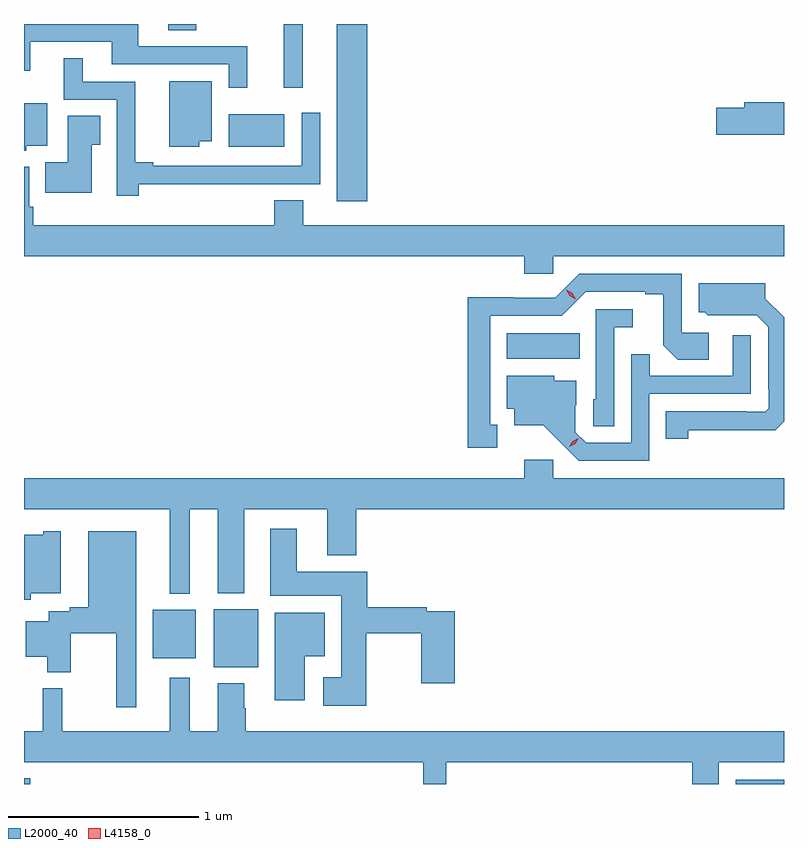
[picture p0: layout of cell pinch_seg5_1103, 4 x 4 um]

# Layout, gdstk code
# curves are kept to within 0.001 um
import gdstk
lib = gdstk.Library(unit=1e-6, precision=1e-09)
def R(c, l, rs):  # rectangles x0, y0, x1, y1
    for r in rs: c.add(gdstk.rectangle(r[:2], r[2:], *l))
def P(c, l, *ps):  # polygons
    for p in ps: c.add(gdstk.Polygon(p, *l))
L2000_40 = (2000, 40)
L4158_0 = (4158, 0)

pinch_seg5_1103 = lib.new_cell('pinch_seg5_1103')
R(pinch_seg5_1103, L2000_40, [(754.211,840.662,754.244,840.691), (757.956,840.662,758.211,840.684), (755.21,841.277,755.443,841.582), (754.889,841.325,755.116,841.579), (756.752,842.9,757.136,843.034), (755.858,843.729,756.017,844.662), (755.288,844.016,755.581,844.186), (755.579,844.326,755.678,844.662), (754.97,844.63,755.118,844.662)])
P(pinch_seg5_1103, L2000_40, [(755.387,844.545),(754.813,844.545),(754.813,844.662),(754.211,844.662),(754.211,844.416),(754.243,844.416),(754.243,844.568),(754.673,844.568),(754.673,844.449),(755.289,844.449),(755.289,844.326),(755.387,844.326)],
  [(754.814,843.818),(755.444,843.818),(755.444,843.819),(755.769,843.819),(755.769,844.195),(755.673,844.195),(755.673,843.915),(754.891,843.915),(754.891,843.935),(754.796,843.935),(754.796,844.359),(754.519,844.359),(754.519,844.483),(754.421,844.483),(754.421,844.263),(754.698,844.263),(754.698,843.759),(754.814,843.759)],
  [(755.134,844.046),(755.2,844.046),(755.2,844.36),(754.976,844.36),(754.976,844.016),(755.134,844.016)],
  [(758.211,844.25),(758.003,844.25),(758.003,844.22),(757.854,844.22),(757.854,844.078),(758.211,844.078)],
  [(754.224,844.022),(754.333,844.022),(754.333,844.246),(754.211,844.246),(754.211,843.995),(754.224,843.995)],
  [(754.567,844.027),(754.613,844.027),(754.613,844.178),(754.442,844.178),(754.442,843.934),(754.324,843.934),(754.324,843.773),(754.567,843.773)],
  [(755.68,843.734),(755.528,843.734),(755.528,843.604),(754.259,843.604),(754.259,843.7),(754.239,843.7),(754.239,843.91),(754.211,843.91),(754.211,843.44),(756.845,843.44),(756.845,843.347),(756.996,843.347),(756.996,843.44),(758.211,843.44),(758.211,843.604),(755.68,843.604)],
  [(756.703,842.553),(756.664,842.553),(756.664,843.126),(757.041,843.126),(757.167,843.252),(757.481,843.252),(757.481,843.24),(757.575,843.24),(757.575,842.972),(757.651,842.896),(757.816,842.896),(757.816,843.036),(757.674,843.036),(757.674,843.348),(757.134,843.348),(757.008,843.222),(756.786,843.222),(756.786,843.224),(756.546,843.224),(756.546,842.433),(756.703,842.433)],
  [(757.707,842.524),(758.164,842.525),(758.211,842.572),(758.211,843.118),(758.113,843.216),(758.113,843.298),(757.763,843.298),(757.763,843.144),(757.794,843.144),(757.81,843.128),(758.067,843.129),(758.127,843.069),(758.127,842.74),(758.13,842.74),(758.13,842.64),(758.112,842.622),(758.012,842.622),(758.012,842.625),(757.588,842.625),(757.588,842.478),(757.707,842.478)],
  [(757.317,843.065),(757.414,843.065),(757.414,843.162),(757.221,843.162),(757.221,842.688),(757.206,842.688),(757.206,842.545),(757.317,842.545)],
  [(757.503,842.715),(758.037,842.715),(758.037,843.025),(757.941,843.025),(757.941,842.811),(757.505,842.811),(757.505,842.924),(757.407,842.924),(757.407,842.457),(757.17,842.457),(757.113,842.514),(757.113,842.656),(757.117,842.656),(757.117,842.785),(757.002,842.785),(757.002,842.812),(756.752,842.812),(756.752,842.636),(756.791,842.636),(756.791,842.549),(756.943,842.549),(757.13,842.364),(757.503,842.364)],
  [(758.211,842.272),(756.996,842.272),(756.996,842.368),(756.845,842.368),(756.845,842.272),(754.211,842.272),(754.211,842.108),(754.979,842.108),(754.979,841.664),(755.083,841.664),(755.083,842.108),(755.231,842.108),(755.231,841.667),(755.371,841.667),(755.371,842.108),(755.807,842.108),(755.807,841.865),(755.96,841.865),(755.96,842.108),(758.211,842.108)],
  [(756.012,841.456),(756.301,841.456),(756.301,841.191),(756.479,841.191),(756.479,841.572),(756.332,841.572),(756.332,841.592),(756.017,841.592),(756.017,841.78),(755.647,841.78),(755.647,842.005),(755.507,842.005),(755.507,841.652),(755.882,841.652),(755.882,841.225),(755.787,841.225),(755.787,841.073),(756.012,841.073)],
  [(754.801,841.993),(754.55,841.993),(754.55,841.592),(754.452,841.592),(754.452,841.572),(754.34,841.572),(754.34,841.519),(754.22,841.519),(754.22,841.331),(754.334,841.331),(754.334,841.25),(754.456,841.25),(754.456,841.456),(754.697,841.456),(754.697,841.065),(754.801,841.065)],
  [(754.246,841.667),(754.405,841.667),(754.405,841.993),(754.311,841.993),(754.311,841.975),(754.211,841.975),(754.211,841.631),(754.246,841.631)],
  [(755.689,841.334),(755.794,841.334),(755.794,841.564),(755.531,841.564),(755.531,841.104),(755.689,841.104)],
  [(756.433,840.776),(757.727,840.776),(757.727,840.662),(757.867,840.662),(757.867,840.776),(758.211,840.776),(758.211,840.94),(755.379,840.94),(755.379,841.061),(755.371,841.061),(755.371,841.192),(755.231,841.192),(755.231,840.94),(755.083,840.94),(755.083,841.222),(754.979,841.222),(754.979,840.94),(754.412,840.94),(754.412,841.165),(754.31,841.165),(754.31,840.94),(754.211,840.94),(754.211,840.776),(756.311,840.776),(756.311,840.662),(756.433,840.662)])
P(pinch_seg5_1103, L4158_0, [(757.081,842.436),(757.081,842.437),(757.098,842.466),(757.128,842.482),(757.128,842.482),(757.128,842.482),(757.112,842.452),(757.082,842.436)],
  [(757.114,843.213),(757.083,843.232),(757.065,843.264),(757.065,843.264),(757.066,843.264),(757.097,843.246),(757.115,843.213),(757.115,843.213)])

lib.write_gds('pinch_seg5_1103.gds')
